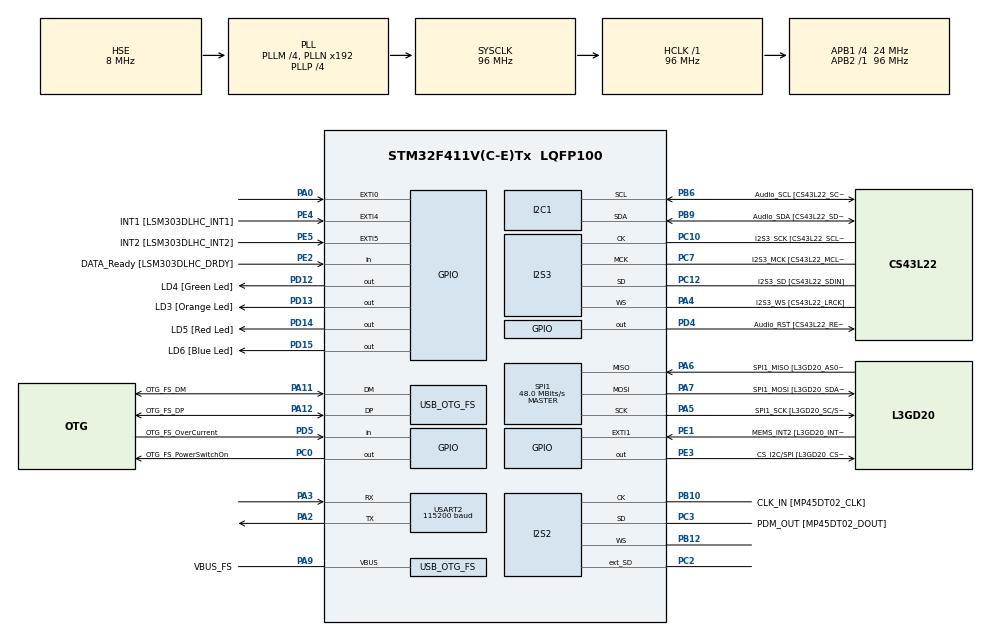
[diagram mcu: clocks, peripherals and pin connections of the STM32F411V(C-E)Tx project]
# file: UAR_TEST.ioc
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I2S2.AudioFreq=I2S_AUDIOFREQ_96K
I2S2.ErrorAudioFreq=0.15 %
I2S2.FullDuplexMode=I2S_FULLDUPLEXMODE_ENABLE
I2S2.Instance=SPI$Index
I2S2.RealAudioFreq=96.153 KHz
I2S2.VirtualMode=I2S_MODE_MASTER
I2S3.AudioFreq=I2S_AUDIOFREQ_96K
I2S3.ErrorAudioFreq=-6.99 %
I2S3.FullDuplexMode=I2S_FULLDUPLEXMODE_DISABLE
I2S3.Instance=SPI$Index
I2S3.RealAudioFreq=89.285 KHz
I2S3.VirtualMode=I2S_MODE_MASTER
Mcu.Family=STM32F4
Mcu.Name=STM32F411V(C-E)Tx
Mcu.Package=LQFP100
NVIC.I2C1_EV_IRQn=true\:0\:0\:false\:false\:true\:true\:true\:true
NVIC.OTG_FS_IRQn=true\:0\:0\:false\:false\:true\:true\:true\:true
NVIC.PriorityGroup=NVIC_PRIORITYGROUP_0
NVIC.SPI1_IRQn=true\:0\:0\:false\:false\:true\:true\:true\:true
NVIC.USART2_IRQn=true\:0\:0\:false\:false\:true\:true\:true\:true
PA0-WKUP.GPIO_ModeDefaultEXTI=GPIO_MODE_EVT_RISING
PA0-WKUP.Signal=GPXTI0
PA10.GPIO_Label=OTG_FS_ID
PA10.Signal=USB_OTG_FS_ID
PA11.GPIO_Label=OTG_FS_DM
PA11.Mode=Host_Only
PA11.Signal=USB_OTG_FS_DM
PA12.GPIO_Label=OTG_FS_DP
PA12.Mode=Host_Only
PA12.Signal=USB_OTG_FS_DP
PA13.GPIO_Label=SWDIO
PA13.Mode=Serial_Wire
PA13.Signal=SYS_JTMS-SWDIO
PA14.GPIO_Label=SWCLK
PA14.Mode=Serial_Wire
PA14.Signal=SYS_JTCK-SWCLK
PA2.Mode=Asynchronous
PA2.Signal=USART2_TX
PA3.Mode=Asynchronous
PA3.Signal=USART2_RX
PA4.GPIO_Label=I2S3_WS [CS43L22_LRCK]
PA4.GPIO_Mode=GPIO_MODE_AF_PP
PA4.GPIO_PuPd=GPIO_NOPULL
PA4.GPIO_Speed=GPIO_SPEED_FREQ_LOW
PA4.Mode=Half_Duplex_Master
PA4.Signal=I2S3_WS
PA5.GPIO_Label=SPI1_SCK [L3GD20_SC/SPC]
PA5.Mode=Full_Duplex_Master
PA5.Signal=SPI1_SCK
PA6.GPIO_Label=SPI1_MISO [L3GD20_AS0/SDO]
PA6.Mode=Full_Duplex_Master
PA6.Signal=SPI1_MISO
PA7.GPIO_Label=SPI1_MOSI [L3GD20_SDA/SDI/SDO]
PA7.Mode=Full_Duplex_Master
PA7.Signal=SPI1_MOSI
PA9.GPIO_Label=VBUS_FS
PA9.Mode=Activate_VBUS
PA9.Signal=USB_OTG_FS_VBUS
PB10.GPIO_Label=CLK_IN [MP45DT02_CLK]
PB10.Mode=Full_Duplex_Master
PB10.Signal=I2S2_CK
PB12.Mode=Full_Duplex_Master
PB12.Signal=I2S2_WS
PB3.GPIO_Label=SWO
PB3.Signal=SYS_JTDO-SWO
PB6.GPIO_Label=Audio_SCL [CS43L22_SCL]
PB6.GPIO_Mode=GPIO_MODE_AF_OD
PB6.GPIO_Pu=GPIO_PULLUP
PB6.GPIO_PuPd=GPIO_NOPULL
PB6.GPIO_Speed=GPIO_SPEED_FREQ_LOW
PB6.Mode=I2C
PB6.Signal=I2C1_SCL
PB9.GPIO_Label=Audio_SDA [CS43L22_SDA]
PB9.GPIO_Mode=GPIO_MODE_AF_OD
PB9.GPIO_Pu=GPIO_PULLUP
PB9.GPIO_PuPd=GPIO_NOPULL
PB9.GPIO_Speed=GPIO_SPEED_FREQ_LOW
PB9.Mode=I2C
PB9.Signal=I2C1_SDA
PC0.GPIO_Label=OTG_FS_PowerSwitchOn
PC0.PinState=GPIO_PIN_SET
PC0.Signal=GPIO_Output
PC10.GPIO_Label=I2S3_SCK [CS43L22_SCLK]
PC10.GPIO_Mode=GPIO_MODE_AF_PP
PC10.GPIO_PuPd=GPIO_NOPULL
PC10.GPIO_Speed=GPIO_SPEED_FREQ_LOW
PC10.Mode=Half_Duplex_Master
PC10.Signal=I2S3_CK
PC12.GPIO_Label=I2S3_SD [CS43L22_SDIN]
PC12.GPIO_Mode=GPIO_MODE_AF_PP
PC12.GPIO_PuPd=GPIO_NOPULL
PC12.GPIO_Speed=GPIO_SPEED_FREQ_LOW
PC12.Mode=Half_Duplex_Master
PC12.Signal=I2S3_SD
PC14-OSC32_IN.GPIO_Label=PC14-OSC32_IN
PC14-OSC32_IN.Mode=LSE-External-Oscillator
PC14-OSC32_IN.Signal=RCC_OSC32_IN
PC15-OSC32_OUT.GPIO_Label=PC15-OSC32_OUT
PC15-OSC32_OUT.Mode=LSE-External-Oscillator
PC15-OSC32_OUT.Signal=RCC_OSC32_OUT
PC2.Mode=Full_Duplex_Master
PC2.Signal=I2S2_ext_SD
PC3.GPIO_Label=PDM_OUT [MP45DT02_DOUT]
PC3.Mode=Full_Duplex_Master
PC3.Signal=I2S2_SD
PC7.GPIO_Label=I2S3_MCK [CS43L22_MCLK]
PC7.GPIO_Mode=GPIO_MODE_AF_PP
PC7.GPIO_PuPd=GPIO_NOPULL
PC7.GPIO_Speed=GPIO_SPEED_FREQ_LOW
PC7.Mode=Master_Clock_Activated
PC7.Signal=I2S3_MCK
PD12.GPIO_Label=LD4 [Green Led]
PD12.GPIO_PuPd=GPIO_NOPULL
PD12.GPIO_Speed=GPIO_SPEED_FREQ_LOW
PD12.Signal=GPIO_Output
PD13.GPIO_Label=LD3 [Orange Led]
PD13.GPIO_PuPd=GPIO_NOPULL
PD13.GPIO_Speed=GPIO_SPEED_FREQ_LOW
PD13.Signal=GPIO_Output
PD14.GPIO_Label=LD5 [Red Led]
PD14.GPIO_PuPd=GPIO_NOPULL
PD14.GPIO_Speed=GPIO_SPEED_FREQ_LOW
PD14.Signal=GPIO_Output
PD15.GPIO_Label=LD6 [Blue Led]
PD15.GPIO_PuPd=GPIO_NOPULL
PD15.GPIO_Speed=GPIO_SPEED_FREQ_LOW
PD15.Signal=GPIO_Output
PD4.GPIO_Label=Audio_RST [CS43L22_RESET]
PD4.Signal=GPIO_Output
PD5.GPIO_Label=OTG_FS_OverCurrent
PD5.Signal=GPIO_Input
PE1.GPIO_Label=MEMS_INT2 [L3GD20_INT2]
PE1.GPIO_ModeDefaultEXTI=GPIO_MODE_EVT_RISING
PE1.Signal=GPXTI1
PE2.GPIO_Label=DATA_Ready [LSM303DLHC_DRDY]
PE2.Signal=GPIO_Input
PE3.GPIO_Label=CS_I2C/SPI [L3GD20_CS_I2C/SPI]
PE3.Signal=GPIO_Output
PE4.GPIO_Label=INT1 [LSM303DLHC_INT1]
PE4.GPIO_ModeDefaultEXTI=GPIO_MODE_EVT_RISING
PE4.Signal=GPXTI4
PE5.GPIO_Label=INT2 [LSM303DLHC_INT2]
PE5.GPIO_ModeDefaultEXTI=GPIO_MODE_EVT_RISING
PE5.Signal=GPXTI5
PH0\ -\ OSC_IN.GPIO_Label=PH0-OSC_IN
PH0\ -\ OSC_IN.Mode=HSE-External-Oscillator
PH0\ -\ OSC_IN.Signal=RCC_OSC_IN
PH1\ -\ OSC_OUT.GPIO_Label=PH1-OSC_OUT
PH1\ -\ OSC_OUT.Mode=HSE-External-Oscillator
PH1\ -\ OSC_OUT.Signal=RCC_OSC_OUT
ProjectManager.HeapSize=0x200
ProjectManager.StackSize=0x400
ProjectManager.TargetToolchain=STM32CubeIDE
RCC.48MHZClocksFreq_Value=48000000
RCC.AHBFreq_Value=96000000
RCC.APB1CLKDivider=RCC_HCLK_DIV4
RCC.APB1Freq_Value=24000000
RCC.APB1TimFreq_Value=48000000
RCC.APB2Freq_Value=96000000
RCC.APB2TimFreq_Value=96000000
RCC.CortexFreq_Value=96000000
RCC.HCLKFreq_Value=96000000
RCC.HSE_VALUE=8000000
RCC.HSI_VALUE=16000000
RCC.PLLI2SM=5
RCC.PLLI2SN=200
RCC.PLLM=4
RCC.PLLP=RCC_PLLP_DIV4
RCC.PLLQ=8
RCC.SYSCLKFreq_VALUE=96000000
RCC.SYSCLKSource=RCC_SYSCLKSOURCE_PLLCLK
RCC.VCOOutputFreq_Value=384000000
SPI1.BaudRatePrescaler=SPI_BAUDRATEPRESCALER_2
SPI1.CalculateBaudRate=48.0 MBits/s
SPI1.Direction=SPI_DIRECTION_2LINES
SPI1.Mode=SPI_MODE_MASTER
SPI1.VirtualType=VM_MASTER
USART2.BaudRate=115200
USART2.VirtualMode=VM_ASYNC
USB_HOST.BSP.number=1
USB_HOST.USBH_HandleTypeDef=hUsbHostFS
USB_HOST.VirtualModeFS=Cdc
USB_HOST0.BSP.STBoard=false
USB_HOST0.BSP.api=Unknown
USB_HOST0.BSP.instance=PC0
USB_HOST0.BSP.ip=GPIO
USB_HOST0.BSP.mode=Output
USB_HOST0.BSP.name=Drive_VBUS_FS
USB_HOST0.BSP.solution=PC0
USB_OTG_FS.VirtualMode=Host_Only
USB_OTG_FS.phy_itface=HCD_PHY_EMBEDDED
VP_USB_HOST_VS_USB_HOST_CDC_FS.Mode=CDC_FS
board=STM32F411E-DISCO

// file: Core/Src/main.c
/* USER CODE BEGIN Header */
/**
  ******************************************************************************
  * @file           : main.c
  * @brief          : Main program body
  ******************************************************************************
  * @attention
  *
  * Copyright (c) 2023 STMicroelectronics.
  * All rights reserved.
  *
  * This software is licensed under terms that can be found in the LICENSE file
  * in the root directory of this software component.
  * If no LICENSE file comes with this software, it is provided AS-IS.
  *
  ******************************************************************************
  */
/* USER CODE END Header */
#include "main.h"
#include "usb_host.h"

/* USER CODE BEGIN Includes */
#include <string.h>
#include <stdio.h>
#include <math.h>
#include "lsm303dlhc.h"
#include "stm32f411e_discovery_accelerometer.h"
#include "stm32f411e_discovery_gyroscope.h"

//#include "lsm303agr.h"

/* USER CODE END Includes */

I2C_HandleTypeDef hi2c1;

I2S_HandleTypeDef hi2s2;
I2S_HandleTypeDef hi2s3;

SPI_HandleTypeDef hspi1;

UART_HandleTypeDef huart2;

/* USER CODE BEGIN PV */
uint8_t TX_data[]="Slay ^_^ !!!\n\r";
int16_t AccelData[3] = {0};
int16_t MagnData[3] = {0};
float GyroData[3] = {0};

double AccelConv[3] = {0};
double MagnConv[3] = {0};
float GyroConv[3] = {0};

HAL_StatusTypeDef status;
/* USER CODE END PV */

void SystemClock_Config(void);
void PeriphCommonClock_Config(void);
static void MX_GPIO_Init(void);
static void MX_I2C1_Init(void);
static void MX_I2S2_Init(void);
static void MX_I2S3_Init(void);
static void MX_SPI1_Init(void);
static void MX_USART2_UART_Init(void);
void MX_USB_HOST_Process(void);

/* USER CODE BEGIN PFP */
static uint8_t I2C_ReadData(uint16_t Addr, uint8_t Reg);
void MagInit(void);
void error(void);
void success(void);
/* USER CODE END PFP */

/* USER CODE BEGIN 0 */

//LED Indication

void error(void) {
	HAL_GPIO_WritePin(GPIOD, GPIO_PIN_14, 1);
	HAL_Delay(100);
	HAL_GPIO_WritePin(GPIOD, GPIO_PIN_14, 0);
}

void success(void) {
	HAL_GPIO_WritePin(GPIOD, GPIO_PIN_12, 1);
	HAL_Delay(100);
	HAL_GPIO_WritePin(GPIOD, GPIO_PIN_12, 0);
}

//I2C Operations

uint8_t I2C_ReadID(uint16_t Addr) {
	uint8_t ctrl = 0x00;
	ctrl = I2C_ReadData(Addr, 0x0F);
	return ctrl;
}

static void I2C_WriteData(uint16_t Addr, uint8_t Reg, uint8_t Value)
{
  HAL_StatusTypeDef status = HAL_OK;

  status = HAL_I2C_Mem_Write(&hi2c1, Addr, (uint16_t)Reg, I2C_MEMADD_SIZE_8BIT, &Value, 1, 0x10000);

  if(status != HAL_OK)
  {
    error();
  }
}

static uint8_t I2C_ReadData(uint16_t Addr, uint8_t Reg)
{
  HAL_StatusTypeDef status = HAL_OK;
  uint8_t value = 0;
  status = HAL_I2C_Mem_Read(&hi2c1, Addr, Reg, I2C_MEMADD_SIZE_8BIT, &value, 1, 0x10000);

  if(status != HAL_OK)
  {
    error();
  }

  return value;
}

//Accelerometer operations

void Accel_GetXYZ(int16_t* pData, double* convData) {
	BSP_ACCELERO_GetXYZ(pData);

	// convert
	pData[0] /= 16;
	pData[2] /= 16;
	pData[1] /= 16;

	pData[0] *= LSM303DLHC_ACC_SENSITIVITY_2G;
	pData[1] *= LSM303DLHC_ACC_SENSITIVITY_2G;
	pData[2] *= LSM303DLHC_ACC_SENSITIVITY_2G;

	convData[0] = ((double)pData[0])/1000;
	convData[1] = ((double)pData[1])/1000;
	convData[2] = ((double)pData[2])/1000;
}

//Gyroscope operations

void Gyro_GetXYZ(float* pData, float* convData) {
	BSP_GYRO_GetXYZ(pData);

	pData[0] *= L3GD20_SENSITIVITY_500DPS;
	pData[1] *= L3GD20_SENSITIVITY_500DPS;
	pData[2] *= L3GD20_SENSITIVITY_500DPS;

	convData[0] = pData[0]/1000;
	convData[1] = pData[1]/1000;
	convData[2] = pData[2]/1000;
}

//Magnetometer Operations

void MagInit(void) {
  uint8_t ctrl = 0b00111000;
  I2C_WriteData(MAG_I2C_ADDRESS, LSM303DLHC_CRA_REG_M, ctrl);
  ctrl = 0b11100000;
  I2C_WriteData(MAG_I2C_ADDRESS, LSM303DLHC_CRB_REG_M, ctrl);
  ctrl = 0b00000000;
  I2C_WriteData(MAG_I2C_ADDRESS, LSM303DLHC_MR_REG_M, ctrl);
  success();
}

void Mag_GetXYZ(double* convData) {
    uint8_t buffer[6];
    HAL_StatusTypeDef status = HAL_OK;

	buffer[0] = I2C_ReadData(MAG_I2C_ADDRESS, LSM303DLHC_OUT_X_H_M);
	buffer[1] = I2C_ReadData(MAG_I2C_ADDRESS, LSM303DLHC_OUT_X_L_M);
	buffer[2] = I2C_ReadData(MAG_I2C_ADDRESS, LSM303DLHC_OUT_Y_H_M);
	buffer[3] = I2C_ReadData(MAG_I2C_ADDRESS, LSM303DLHC_OUT_Y_L_M);
	buffer[4] = I2C_ReadData(MAG_I2C_ADDRESS, LSM303DLHC_OUT_Z_H_M);
	buffer[5] = I2C_ReadData(MAG_I2C_ADDRESS, LSM303DLHC_OUT_Z_L_M);

	if (status != HAL_OK) {
		error();}
	else success();

	int16_t ta[3];
	ta[0] = (int16_t)((uint16_t)buffer[0]<<8)+buffer[1];
	ta[2] = (int16_t)((uint16_t)buffer[4]<<8)+buffer[5];
	ta[1] = (int16_t)((uint16_t)buffer[2]<<8)+buffer[3];

	convData[0] = ((double)ta[0])/ LSM303DLHC_M_SENSITIVITY_XY_8_1Ga;
	convData[2] = ((double)ta[2])/ LSM303DLHC_M_SENSITIVITY_Z_8_1Ga;
	convData[1] = ((double)ta[1])/ LSM303DLHC_M_SENSITIVITY_XY_8_1Ga;
}

/* USER CODE END 0 */

int main(void)
{

  /* MCU Configuration--------------------------------------------------------*/

  /* Reset of all peripherals, Initializes the Flash interface and the Systick. */
  HAL_Init();
//  HAL_I2C_Init(&hi2c1);

  /* Configure the system clock */
  SystemClock_Config();

/* Configure the peripherals common clocks */
  PeriphCommonClock_Config();

  /* Initialize all configured peripherals */
  MX_GPIO_Init();
  MX_I2C1_Init();
  MX_I2S2_Init();
  MX_I2S3_Init();
  MX_SPI1_Init();
  MX_USB_HOST_Init();
  MX_USART2_UART_Init();
  /* USER CODE BEGIN 2 */
  /* Initialize interrupts */
  /* USER CODE BEGIN 2 */
  BSP_ACCELERO_Init();
  BSP_GYRO_Init();
  MagInit();

  BSP_GYRO_EnableIT(L3GD20_INT2);
  /* USER CODE END 2 */

  /* Infinite loop */
  /* USER CODE BEGIN WHILE */
  char Data[200] = {0};

  while (1)
  {
    /* USER CODE END WHILE */
    MX_USB_HOST_Process();

    /* USER CODE BEGIN 3 */

    BSP_GYRO_DisableIT(L3GD20_INT2);

    Accel_GetXYZ(AccelData, AccelConv);
    Gyro_GetXYZ(GyroData, GyroConv);
    Mag_GetXYZ(MagnConv);

    sprintf(Data, "%5.3f;%5.3f;%5.3f;%5.3f;%5.3f;%5.3f;%5.3f;%5.3f;%5.3f;\n", AccelConv[0], AccelConv[1], AccelConv[2], MagnConv[0], MagnConv[1], MagnConv[2], GyroConv[0], GyroConv[1], GyroConv[2]);
    HAL_UART_Transmit(&huart2, (uint8_t* ) Data, strlen(Data), 0xFFFF);
	HAL_Delay(10);

	BSP_GYRO_EnableIT(L3GD20_INT2);
	/* USER CODE END WHILE */

  }
  /* USER CODE END 3 */
}

void SystemClock_Config(void)
{
  RCC_OscInitTypeDef RCC_OscInitStruct = {0};
  RCC_ClkInitTypeDef RCC_ClkInitStruct = {0};

  /** Configure the main internal regulator output voltage
  */
  __HAL_RCC_PWR_CLK_ENABLE();
  __HAL_PWR_VOLTAGESCALING_CONFIG(PWR_REGULATOR_VOLTAGE_SCALE1);

  /** Initializes the RCC Oscillators according to the specified parameters
  * in the RCC_OscInitTypeDef structure.
  */
  RCC_OscInitStruct.OscillatorType = RCC_OSCILLATORTYPE_HSE;
  RCC_OscInitStruct.HSEState = RCC_HSE_ON;
  RCC_OscInitStruct.PLL.PLLState = RCC_PLL_ON;
  RCC_OscInitStruct.PLL.PLLSource = RCC_PLLSOURCE_HSE;
  RCC_OscInitStruct.PLL.PLLM = 4;
  RCC_OscInitStruct.PLL.PLLN = 192;
  RCC_OscInitStruct.PLL.PLLP = RCC_PLLP_DIV4;
  RCC_OscInitStruct.PLL.PLLQ = 8;
  if (HAL_RCC_OscConfig(&RCC_OscInitStruct) != HAL_OK)
  {
    Error_Handler();
  }

  /** Initializes the CPU, AHB and APB buses clocks
  */
  RCC_ClkInitStruct.ClockType = RCC_CLOCKTYPE_HCLK|RCC_CLOCKTYPE_SYSCLK
                              |RCC_CLOCKTYPE_PCLK1|RCC_CLOCKTYPE_PCLK2;
  RCC_ClkInitStruct.SYSCLKSource = RCC_SYSCLKSOURCE_PLLCLK;
  RCC_ClkInitStruct.AHBCLKDivider = RCC_SYSCLK_DIV1;
  RCC_ClkInitStruct.APB1CLKDivider = RCC_HCLK_DIV4;
  RCC_ClkInitStruct.APB2CLKDivider = RCC_HCLK_DIV1;

  if (HAL_RCC_ClockConfig(&RCC_ClkInitStruct, FLASH_LATENCY_3) != HAL_OK)
  {
    Error_Handler();
  }
}

void PeriphCommonClock_Config(void)
{
  RCC_PeriphCLKInitTypeDef PeriphClkInitStruct = {0};

  /** Initializes the peripherals clock
  */
  PeriphClkInitStruct.PeriphClockSelection = RCC_PERIPHCLK_I2S;
  PeriphClkInitStruct.PLLI2S.PLLI2SN = 200;
  PeriphClkInitStruct.PLLI2S.PLLI2SM = 5;
  PeriphClkInitStruct.PLLI2S.PLLI2SR = 2;
  if (HAL_RCCEx_PeriphCLKConfig(&PeriphClkInitStruct) != HAL_OK)
  {
    Error_Handler();
  }
}

static void MX_I2C1_Init(void)
{

  hi2c1.Instance = I2C1;
  hi2c1.Init.ClockSpeed = 100000;
  hi2c1.Init.DutyCycle = I2C_DUTYCYCLE_2;
  hi2c1.Init.OwnAddress1 = 0;
  hi2c1.Init.AddressingMode = I2C_ADDRESSINGMODE_7BIT;
  hi2c1.Init.DualAddressMode = I2C_DUALADDRESS_DISABLE;
  hi2c1.Init.OwnAddress2 = 0;
  hi2c1.Init.GeneralCallMode = I2C_GENERALCALL_DISABLE;
  hi2c1.Init.NoStretchMode = I2C_NOSTRETCH_DISABLE;
  if (HAL_I2C_Init(&hi2c1) != HAL_OK)
  {
    Error_Handler();
  }

}

static void MX_I2S2_Init(void)
{

  hi2s2.Instance = SPI2;
  hi2s2.Init.Mode = I2S_MODE_MASTER_TX;
  hi2s2.Init.Standard = I2S_STANDARD_PHILIPS;
  hi2s2.Init.DataFormat = I2S_DATAFORMAT_16B;
  hi2s2.Init.MCLKOutput = I2S_MCLKOUTPUT_DISABLE;
  hi2s2.Init.AudioFreq = I2S_AUDIOFREQ_96K;
  hi2s2.Init.CPOL = I2S_CPOL_LOW;
  hi2s2.Init.ClockSource = I2S_CLOCK_PLL;
  hi2s2.Init.FullDuplexMode = I2S_FULLDUPLEXMODE_ENABLE;
  if (HAL_I2S_Init(&hi2s2) != HAL_OK)
  {
    Error_Handler();
  }

}

static void MX_I2S3_Init(void)
{

  hi2s3.Instance = SPI3;
  hi2s3.Init.Mode = I2S_MODE_MASTER_TX;
  hi2s3.Init.Standard = I2S_STANDARD_PHILIPS;
  hi2s3.Init.DataFormat = I2S_DATAFORMAT_16B;
  hi2s3.Init.MCLKOutput = I2S_MCLKOUTPUT_ENABLE;
  hi2s3.Init.AudioFreq = I2S_AUDIOFREQ_96K;
  hi2s3.Init.CPOL = I2S_CPOL_LOW;
  hi2s3.Init.ClockSource = I2S_CLOCK_PLL;
  hi2s3.Init.FullDuplexMode = I2S_FULLDUPLEXMODE_DISABLE;
  if (HAL_I2S_Init(&hi2s3) != HAL_OK)
  {
    Error_Handler();
  }

}

static void MX_SPI1_Init(void)
{

  /* SPI1 parameter configuration*/
  hspi1.Instance = SPI1;
  hspi1.Init.Mode = SPI_MODE_MASTER;
  hspi1.Init.Direction = SPI_DIRECTION_2LINES;
  hspi1.Init.DataSize = SPI_DATASIZE_8BIT;
  hspi1.Init.CLKPolarity = SPI_POLARITY_LOW;
  hspi1.Init.CLKPhase = SPI_PHASE_1EDGE;
  hspi1.Init.NSS = SPI_NSS_SOFT;
  hspi1.Init.BaudRatePrescaler = SPI_BAUDRATEPRESCALER_2;
  hspi1.Init.FirstBit = SPI_FIRSTBIT_MSB;
  hspi1.Init.TIMode = SPI_TIMODE_DISABLE;
  hspi1.Init.CRCCalculation = SPI_CRCCALCULATION_DISABLE;
  hspi1.Init.CRCPolynomial = 10;
  if (HAL_SPI_Init(&hspi1) != HAL_OK)
  {
    Error_Handler();
  }

}

static void MX_USART2_UART_Init(void)
{

  huart2.Instance = USART2;
  huart2.Init.BaudRate = 115200;
  huart2.Init.WordLength = UART_WORDLENGTH_8B;
  huart2.Init.StopBits = UART_STOPBITS_1;
  huart2.Init.Parity = UART_PARITY_NONE;
  huart2.Init.Mode = UART_MODE_TX_RX;
  huart2.Init.HwFlowCtl = UART_HWCONTROL_NONE;
  huart2.Init.OverSampling = UART_OVERSAMPLING_16;
  if (HAL_UART_Init(&huart2) != HAL_OK)
  {
    Error_Handler();
  }

}

static void MX_GPIO_Init(void)
{
  GPIO_InitTypeDef GPIO_InitStruct = {0};

  /* GPIO Ports Clock Enable */
  __HAL_RCC_GPIOE_CLK_ENABLE();
  __HAL_RCC_GPIOC_CLK_ENABLE();
  __HAL_RCC_GPIOH_CLK_ENABLE();
  __HAL_RCC_GPIOA_CLK_ENABLE();
  __HAL_RCC_GPIOB_CLK_ENABLE();
  __HAL_RCC_GPIOD_CLK_ENABLE();

  /*Configure GPIO pin Output Level */
  HAL_GPIO_WritePin(CS_I2C_SPI_GPIO_Port, CS_I2C_SPI_Pin, GPIO_PIN_RESET);

  /*Configure GPIO pin Output Level */
  HAL_GPIO_WritePin(OTG_FS_PowerSwitchOn_GPIO_Port, OTG_FS_PowerSwitchOn_Pin, GPIO_PIN_SET);

  /*Configure GPIO pin Output Level */
  HAL_GPIO_WritePin(GPIOD, LD4_Pin|LD3_Pin|LD5_Pin|LD6_Pin
                          |Audio_RST_Pin, GPIO_PIN_RESET);

  /*Configure GPIO pin : DATA_Ready_Pin */
  GPIO_InitStruct.Pin = DATA_Ready_Pin;
  GPIO_InitStruct.Mode = GPIO_MODE_INPUT;
  GPIO_InitStruct.Pull = GPIO_NOPULL;
  HAL_GPIO_Init(DATA_Ready_GPIO_Port, &GPIO_InitStruct);

  /*Configure GPIO pin : CS_I2C_SPI_Pin */
  GPIO_InitStruct.Pin = CS_I2C_SPI_Pin;
  GPIO_InitStruct.Mode = GPIO_MODE_OUTPUT_PP;
  GPIO_InitStruct.Pull = GPIO_NOPULL;
  GPIO_InitStruct.Speed = GPIO_SPEED_FREQ_LOW;
  HAL_GPIO_Init(CS_I2C_SPI_GPIO_Port, &GPIO_InitStruct);

  /*Configure GPIO pins : INT1_Pin INT2_Pin MEMS_INT2_Pin */
  GPIO_InitStruct.Pin = INT1_Pin|INT2_Pin|MEMS_INT2_Pin;
  GPIO_InitStruct.Mode = GPIO_MODE_EVT_RISING;
  GPIO_InitStruct.Pull = GPIO_NOPULL;
  HAL_GPIO_Init(GPIOE, &GPIO_InitStruct);

  /*Configure GPIO pin : OTG_FS_PowerSwitchOn_Pin */
  GPIO_InitStruct.Pin = OTG_FS_PowerSwitchOn_Pin;
  GPIO_InitStruct.Mode = GPIO_MODE_OUTPUT_PP;
  GPIO_InitStruct.Pull = GPIO_NOPULL;
  GPIO_InitStruct.Speed = GPIO_SPEED_FREQ_LOW;
  HAL_GPIO_Init(OTG_FS_PowerSwitchOn_GPIO_Port, &GPIO_InitStruct);

  /*Configure GPIO pin : PA0 */
  GPIO_InitStruct.Pin = GPIO_PIN_0;
  GPIO_InitStruct.Mode = GPIO_MODE_EVT_RISING;
  GPIO_InitStruct.Pull = GPIO_NOPULL;
  HAL_GPIO_Init(GPIOA, &GPIO_InitStruct);

  /*Configure GPIO pins : LD4_Pin LD3_Pin LD5_Pin LD6_Pin
                           Audio_RST_Pin */
  GPIO_InitStruct.Pin = LD4_Pin|LD3_Pin|LD5_Pin|LD6_Pin
                          |Audio_RST_Pin;
  GPIO_InitStruct.Mode = GPIO_MODE_OUTPUT_PP;
  GPIO_InitStruct.Pull = GPIO_NOPULL;
  GPIO_InitStruct.Speed = GPIO_SPEED_FREQ_LOW;
  HAL_GPIO_Init(GPIOD, &GPIO_InitStruct);

  /*Configure GPIO pin : OTG_FS_OverCurrent_Pin */
  GPIO_InitStruct.Pin = OTG_FS_OverCurrent_Pin;
  GPIO_InitStruct.Mode = GPIO_MODE_INPUT;
  GPIO_InitStruct.Pull = GPIO_NOPULL;
  HAL_GPIO_Init(OTG_FS_OverCurrent_GPIO_Port, &GPIO_InitStruct);

}

void Error_Handler(void)
{
  __disable_irq();
  while (1)
  {
  }
}
